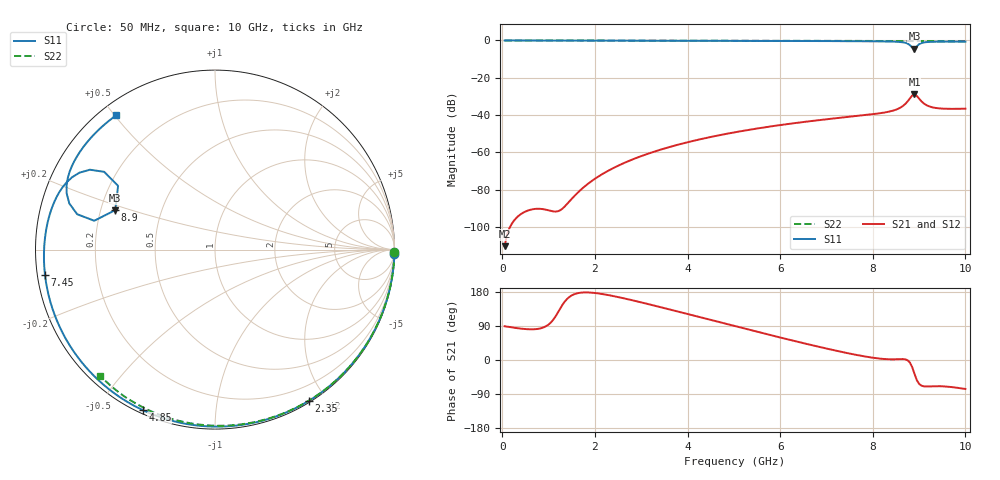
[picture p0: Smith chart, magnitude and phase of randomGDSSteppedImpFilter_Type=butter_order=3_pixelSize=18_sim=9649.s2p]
! freq	dB(S11)	phase(S11)	dB(S12)	phase(S12)
!  dB(S21)	phase(S21)	dB(S22)	phase(S22)
!S-par simulation data
#  GHz  S  DB  R 50
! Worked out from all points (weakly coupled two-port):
!   200 points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, 50 MHz to 10 GHz, reference 50 ohm
!   highest |S21| = -28.90 dB at 8.9 GHz (marker M1); lowest = -110.2 dB at 50 MHz (marker M2)
!   lowest |S11| = -4.5 dB at 8.9 GHz (marker M3), VSWR 3.97, Z = 13 + j8.91 ohm
!   |S11| at or under -10 dB: nowhere
!   |S22| runs from -0.4 to 0.0 dB; largest |S21 - S12| = 0
!   S11 on the Smith chart (normalised r, x): 50 MHz: 0, -89; 2.35 GHz: 0.02, -1.80; 4.85 GHz: 0.01, -0.65; 7.45 GHz: 0.02, -0.07; 8.9 GHz: 0.26, +0.18; 10 GHz: 0.05, +0.50
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0.05  -0.00 -1.3  -110.24 89.1  -110.24 89.1  -0.00 -0.8
0.85  -0.03 -21.5  -90.30 84.3  -90.30 84.3  -0.02 -12.9
1.65  -0.05 -41.2  -81.06 176.8  -81.06 176.8  -0.03 -24.9
1.75  -0.06 -43.7  -78.83 178.2  -78.83 178.2  -0.03 -26.4
2.35  -0.07 -58.1  -68.99 169.9  -68.99 169.9  -0.05 -35.2
3.4  -0.11 -82.3  -58.65 140.0  -58.65 140.0  -0.07 -50.2
4.1  -0.13 -98.0  -53.95 118.2  -53.95 118.2  -0.08 -59.9
4.85  -0.17 -114.3  -49.99 94.7  -49.99 94.7  -0.10 -70.0
5.05  -0.18 -118.6  -49.08 88.5  -49.08 88.5  -0.11 -72.6
6.7  -0.30 -154.4  -43.10 38.7  -43.10 38.7  -0.18 -93.6
7.45  -0.38 -171.6  -41.02 18.2  -41.02 18.2  -0.22 -102.7
8.35  -0.57 164.7  -38.15 1.9  -38.15 1.9  -0.29 -113.3
8.6  -0.85 155.5  -35.95 2.4  -35.95 2.4  -0.31 -116.2
8.75  -1.65 147.4  -32.72 -0.6  -32.72 -0.6  -0.33 -117.9
8.8  -2.45 144.9  -31.09 -6.4  -31.09 -6.4  -0.33 -118.5
8.85  -3.79 146.7  -29.52 -18.4  -29.52 -18.4  -0.33 -119.0
8.9  -4.47 158.4  -28.90 -36.2  -28.90 -36.2  -0.33 -119.6
8.95  -3.20 166.6  -29.71 -52.9  -29.71 -52.9  -0.33 -120.2
9  -2.02 165.6  -31.20 -63.0  -31.20 -63.0  -0.33 -120.8
9.15  -0.90 156.5  -34.54 -69.9  -34.54 -69.9  -0.35 -122.6
9.45  -0.64 144.2  -36.43 -69.2  -36.43 -69.2  -0.38 -126.0
10  -0.64 126.3  -36.57 -76.5  -36.57 -76.5  -0.44 -132.3
